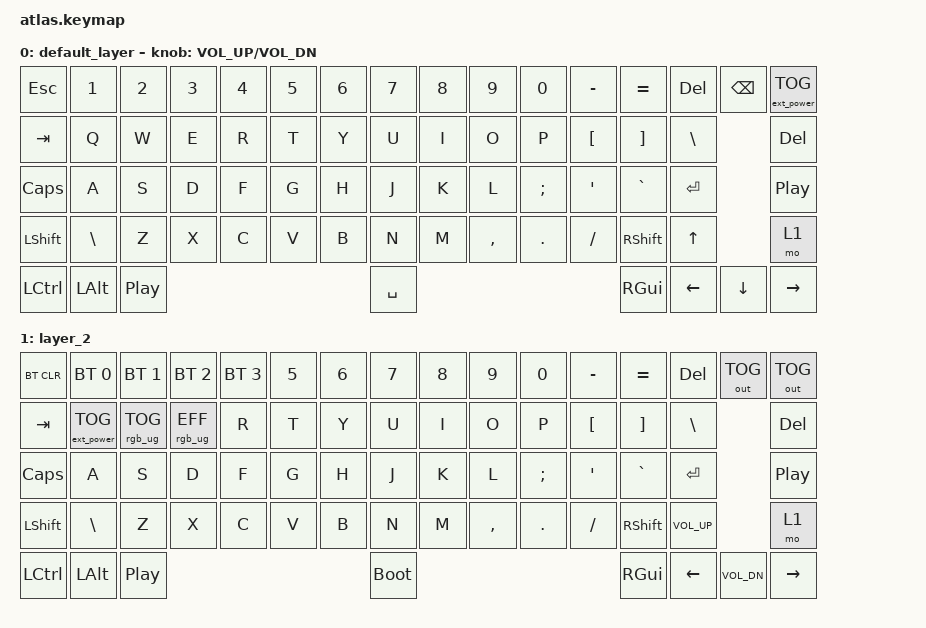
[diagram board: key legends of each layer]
/*
 * Copyright (c) 2020 The ZMK Contributors
 *
 * SPDX-License-Identifier: MIT
 */

#include <behaviors.dtsi>
#include <dt-bindings/zmk/keys.h>
#include <dt-bindings/zmk/bt.h>
#include <dt-bindings/zmk/outputs.h>
#include <dt-bindings/zmk/ext_power.h>
#include <dt-bindings/zmk/rgb.h>

/ {
	keymap {
		compatible = "zmk,keymap";
		default_layer {
			bindings = <
      &kp ESC    &kp N1    &kp N2            &kp N3  &kp N4  &kp N5  &kp N6     &kp N7     &kp N8  &kp N9     &kp N0    &kp MINUS    &kp EQUAL  &kp DEL   &kp BSPC  &ext_power EP_TOG
      &kp TAB    &kp Q     &kp W             &kp E   &kp R   &kp T   &kp Y      &kp U      &kp I   &kp O      &kp P     &kp LBKT     &kp RBKT   &kp BSLH            &kp DEL
      &kp CLCK   &kp A     &kp S             &kp D   &kp F   &kp G   &kp H      &kp J      &kp K   &kp L      &kp SEMI  &kp SQT      &kp GRAVE  &kp RET             &kp C_PLAY_PAUSE
      &kp LSHFT  &kp BSLH  &kp Z             &kp X   &kp C   &kp V   &kp B      &kp N      &kp M   &kp COMMA  &kp DOT   &kp FSLH     &kp RSHFT  &kp UP              &mo 1
      &kp LCTRL  &kp LALT  &kp C_PLAY_PAUSE                                     &kp SPACE                                            &kp RGUI   &kp LEFT  &kp DOWN  &kp RIGHT
			>;

			sensor-bindings = <&inc_dec_kp C_VOL_UP C_VOL_DN>;

		};
		layer_2 {
			bindings = <
			&bt BT_CLR  &bt BT_SEL 0       &bt BT_SEL 1      &bt BT_SEL 2     &bt BT_SEL 3  &kp N5  &kp N6  &kp N7       &kp N8  &kp N9     &kp N0    &kp MINUS    &kp EQUAL  &kp DEL       &out OUT_TOG  &out OUT_TOG
			&kp TAB     &ext_power EP_TOG  &rgb_ug RGB_TOG   &rgb_ug RGB_EFF  &kp R         &kp T   &kp Y   &kp U        &kp I   &kp O      &kp P     &kp LBKT     &kp RBKT   &kp BSLH                    &kp DEL
			&kp CLCK    &kp A              &kp S             &kp D            &kp F         &kp G   &kp H   &kp J        &kp K   &kp L      &kp SEMI  &kp SQT      &kp GRAVE  &kp RET                     &kp C_PLAY_PAUSE
			&kp LSHFT   &kp BSLH           &kp Z             &kp X            &kp C         &kp V   &kp B   &kp N        &kp M   &kp COMMA  &kp DOT   &kp FSLH     &kp RSHFT  &kp C_VOL_UP                &mo 1
			&kp LCTRL   &kp LALT           &kp C_PLAY_PAUSE                                                 &bootloader                                            &kp RGUI   &kp LEFT      &kp C_VOL_DN  &kp RIGHT
			>;
		};
	};

	sensors {
				compatible = "zmk,keymap-sensors";
				sensors = <&left_encoder>;
		};

};

&left_encoder {
    status = "okay";
};
